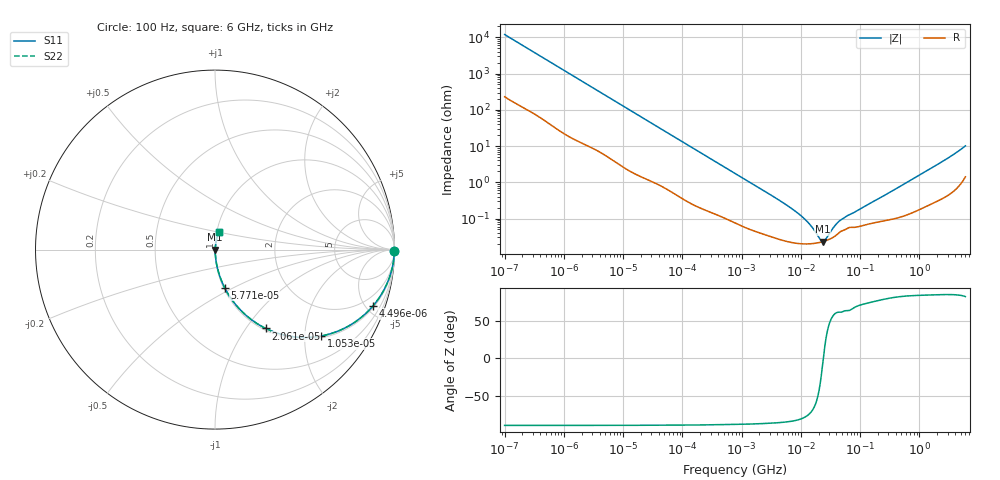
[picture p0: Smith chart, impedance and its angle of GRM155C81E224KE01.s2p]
!Murata Part Number: GRM155C81E224KE01
!These Parameters are Measured in Series Mode Connection
!Data Generated on Mar 30, 2021
!  o--ll--o
!Port1  Port2
!  o------o
!Operation Temp=25[degC], DC Bias Voltage=0[V]
!Freq. Start=100[Hz] Stop=6[GHz] 401[Steps]
# Hz S RI R 50
!Freq.(Hz) S11(Real) S11(Imag) S21(Real) S21(Imag) S12(Real) S12(Imag) S22(Real) S22(Imag)
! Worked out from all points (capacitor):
!   401 points, 100 Hz to 6 GHz, reference 50 ohm
!   read as one part in series: C = 132 nF near 109 Hz
!   lowest |Z| = 23.2 mohm at 23.28 MHz (marker M1)
!   series resonance near 24 MHz, so ESL is about 330 pH
!   S11 on the Smith chart (normalised r, x): 100 Hz: open; 4.496 kHz: 1.12, -5.58; 10.53 kHz: 1.05, -2.41; 20.61 kHz: 1.03, -1.24; 57.71 kHz: 1.01, -0.45; 6 GHz: 1.03, +0.20
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100  0.9998 -0.00834  0.000229 0.00834  0.000229 0.00834  0.9998 -0.00834
600  0.9967 -0.0487  0.0033 0.0487  0.0033 0.0487  0.9967 -0.0487
2008  0.9715 -0.1568  0.0285 0.1568  0.0285 0.1568  0.9715 -0.1568
4496  0.881 -0.313  0.119 0.313  0.119 0.313  0.881 -0.313
6728  0.7741 -0.4076  0.2259 0.4076  0.2259 0.4076  0.7741 -0.4076
10527  0.5908 -0.4815  0.4092 0.4815  0.4092 0.4815  0.5908 -0.4815
20606  0.2824 -0.4391  0.7176 0.4391  0.7176 0.4391  0.2824 -0.4391
40335  0.0993 -0.2862  0.9007 0.2862  0.9007 0.2862  0.0993 -0.2862
57709  0.0536 -0.2121  0.9464 0.2121  0.9464 0.2121  0.0536 -0.2121
169018  0.00825 -0.0774  0.9918 0.0774  0.9918 0.0774  0.00825 -0.0774
774597  0.00106 -0.0176  0.9989 0.0176  0.9989 0.0176  0.00106 -0.0176
6644369  0.000225 -0.00199  0.9998 0.00199  0.9998 0.00199  0.000225 -0.00199
1.087309e7  0.000201 -0.00105  0.9998 0.00105  0.9998 0.00105  0.000201 -0.00105
1.555665e7  0.000203 -0.000535  0.9998 0.000535  0.9998 0.000535  0.000203 -0.000535
2.128304e7  0.00022 -0.000143  0.9998 0.000143  0.9998 0.000143  0.00022 -0.000143
2.327686e7  0.000229 -3.62e-05  0.9998 3.62e-05  0.9998 3.62e-05  0.000229 -3.62e-05
2.662322e7  0.000246 0.000123  0.9998 -0.000123  0.9998 -0.000123  0.000246 0.000123
3.64232e7  0.000313 0.000503  0.9997 -0.000503  0.9997 -0.000503  0.000313 0.000503
4.764863e7  0.000443 0.000807  0.9996 -0.000807  0.9996 -0.000807  0.000443 0.000807
3.124326e8  0.000943 0.0051  0.9991 -0.0051  0.9991 -0.0051  0.000943 0.0051
2.048624e9  0.00399 0.0309  0.996 -0.0309  0.996 -0.0309  0.00399 0.0309
6e9  0.0234 0.0963  0.9766 -0.0963  0.9766 -0.0963  0.0234 0.0963
